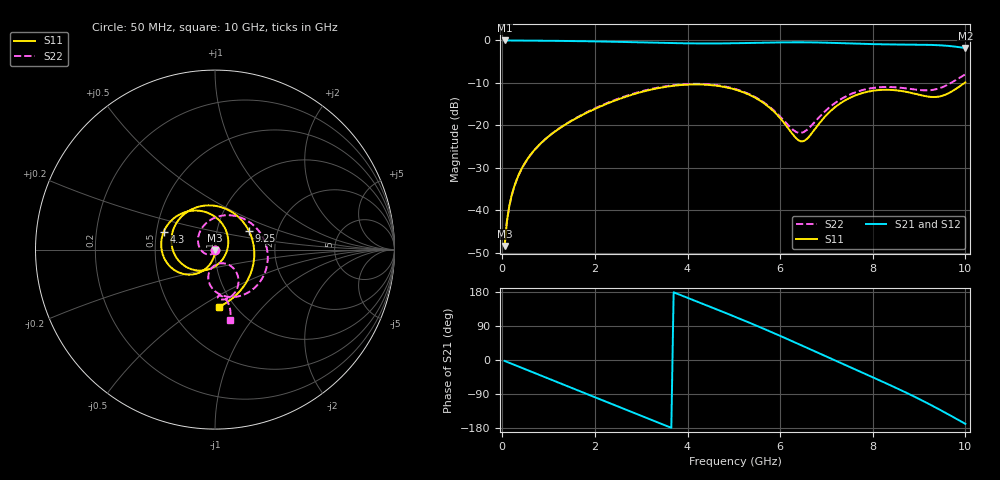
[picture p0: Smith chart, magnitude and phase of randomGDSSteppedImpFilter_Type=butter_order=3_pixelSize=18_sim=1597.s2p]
! freq	dB(S11)	phase(S11)	dB(S12)	phase(S12)
!  dB(S21)	phase(S21)	dB(S22)	phase(S22)
!S-par simulation data
#  GHz  S  DB  R 50
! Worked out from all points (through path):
!   200 points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, 50 MHz to 10 GHz, reference 50 ohm
!   highest |S21| = -0.01 dB at 50 MHz (marker M1); lowest = -1.8 dB at 10 GHz (marker M2)
!   group delay of S21, straight-line fit = 144 ps
!   lowest |S11| = -48.4 dB at 50 MHz (marker M3), VSWR 1.01, Z = 50 - j0.378 ohm
!   |S11| at or under -10 dB: start of sweep to 9.985 GHz
!   |S22| runs from -48.5 to -8.0 dB; largest |S21 - S12| = 0
!   S11 on the Smith chart (normalised r, x): 50 MHz: 1.00, -0.01; 4.3 GHz: 0.55, +0.12; 9.25 GHz: 1.42, +0.32; 10 GHz: 0.84, -0.60
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0.05  -48.43 -85.8  -0.01 -2.5  -0.01 -2.5  -48.50 -89.2
0.1  -42.59 -89.0  -0.01 -5.0  -0.01 -5.0  -42.67 -95.8
0.2  -36.62 -92.1  -0.02 -9.9  -0.02 -9.9  -36.71 -105.8
0.5  -28.68 -98.1  -0.04 -24.6  -0.04 -24.6  -28.75 -132.0
1.15  -21.37 -108.9  -0.10 -56.5  -0.10 -56.5  -21.33 173.7
1.75  -17.46 -119.4  -0.18 -86.0  -0.18 -86.0  -17.34 125.3
2.5  -13.90 -136.2  -0.33 -122.9  -0.33 -122.9  -13.75 68.9
3.4  -11.18 -163.8  -0.57 -166.8  -0.57 -166.8  -11.03 9.4
3.85  -10.52 179.6  -0.67 171.4  -0.67 171.4  -10.38 -17.0
4.3  -10.39 161.2  -0.72 149.6  -0.72 149.6  -10.25 -41.4
5.05  -11.65 125.8  -0.66 112.8  -0.66 112.8  -11.51 -77.9
5.85  -16.59 73.8  -0.48 71.7  -0.48 71.7  -16.36 -104.1
6.4  -23.56 -7.8  -0.43 42.0  -0.43 42.0  -21.78 -78.9
6.7  -21.65 -77.9  -0.46 25.5  -0.46 25.5  -19.78 -51.1
7.05  -17.04 -123.5  -0.55 6.3  -0.55 6.3  -15.90 -45.7
7.45  -13.83 -158.2  -0.69 -15.7  -0.69 -15.7  -13.02 -54.1
7.9  -12.07 167.2  -0.84 -40.2  -0.84 -40.2  -11.39 -67.5
8.35  -11.64 131.0  -0.94 -65.0  -0.94 -65.0  -10.98 -79.6
8.8  -12.29 87.9  -0.98 -90.8  -0.98 -90.8  -11.42 -86.4
9.25  -13.31 29.3  -1.05 -118.4  -1.05 -118.4  -11.72 -82.9
9.65  -12.37 -35.5  -1.31 -144.7  -1.31 -144.7  -10.25 -76.1
10  -9.89 -86.4  -1.81 -168.5  -1.81 -168.5  -7.98 -77.8
